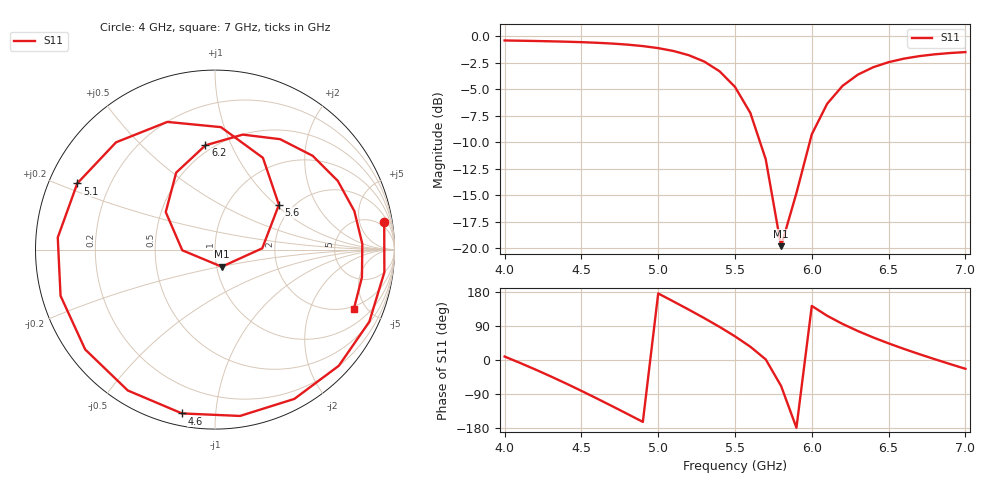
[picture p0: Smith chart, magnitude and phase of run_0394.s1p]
! Touchstone file exported from HFSS 2024.2.0
!  File:  C:/Users/wsak9/Desktop/Sim Fast/Widenad Patch/WP_AI_V1_sweep.aedt
!  Generated:  07:54:42 AM Oct 14, 2026
!  Design:  A1_model
!  Project:  WP_AI_V1_sweep
!  Setup:  Setup1
!  Solution:  Sweep
! Variables:
!  Air_gap = 3.42mm
!  Curve_Amp1 = 1.06
!  Curve_len1 = 1
!  Curve_pos = 10.265mm
!  Extra = 3.77mm
!  H_sub = 0.79mm
!  L_Patch = 16.53mm
!  L_Patch1 = 11.78mm
!  Sx = 1.36mm
!  Sy = 4.9mm
!  WS = 0.99mm
!  W_Patch = 16.73mm
!  W_Patch1 = 8.01mm
!Data is not renormalized
# GHz S MA
! Terminal data exported
! Port[1] = 1
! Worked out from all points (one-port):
!   31 points, 4 GHz to 7 GHz, reference per port
!   lowest |S11| = -19.8 dB at 5.8 GHz (marker M1), VSWR 1.23
!   |S11| at or under -10 dB: 5.664 GHz to 5.986 GHz (322.8 MHz wide, 5.54 % of centre)
!   S11 on the Smith chart (normalised r, x): 4 GHz: 3, +12; 4.6 GHz: 0.06, -0.82; 5.1 GHz: 0.08, +0.23; 5.6 GHz: 1.70, +1.05; 6.2 GHz: 0.46, +0.80; 7 GHz: 1.81, -4.11
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4  0.9548 9.1
4.1  0.952 -7.6
4.2  0.9492 -25.0
4.3  0.9459 -43.2
4.4  0.9421 -62.0
4.5  0.9373 -81.4
4.6  0.9311 -101.4
4.7  0.9231 -121.8
4.8  0.9125 -142.4
4.9  0.8982 -163.3
5  0.8786 175.6
5.1  0.8514 154.3
5.2  0.8132 132.7
5.3  0.7593 110.5
5.4  0.6831 87.2
5.5  0.5768 62.4
5.6  0.4349 35.0
5.7  0.2634 1.6
5.8  0.1025 -68.5
5.9  0.1823 -178.8
6  0.345 142.7
6.1  0.4805 116.7
6.2  0.5834 95.2
6.3  0.6591 76.4
6.5  0.7544 43.9
6.7  0.8055 15.4
6.8  0.8214 2.2
7  0.8414 -23.2
